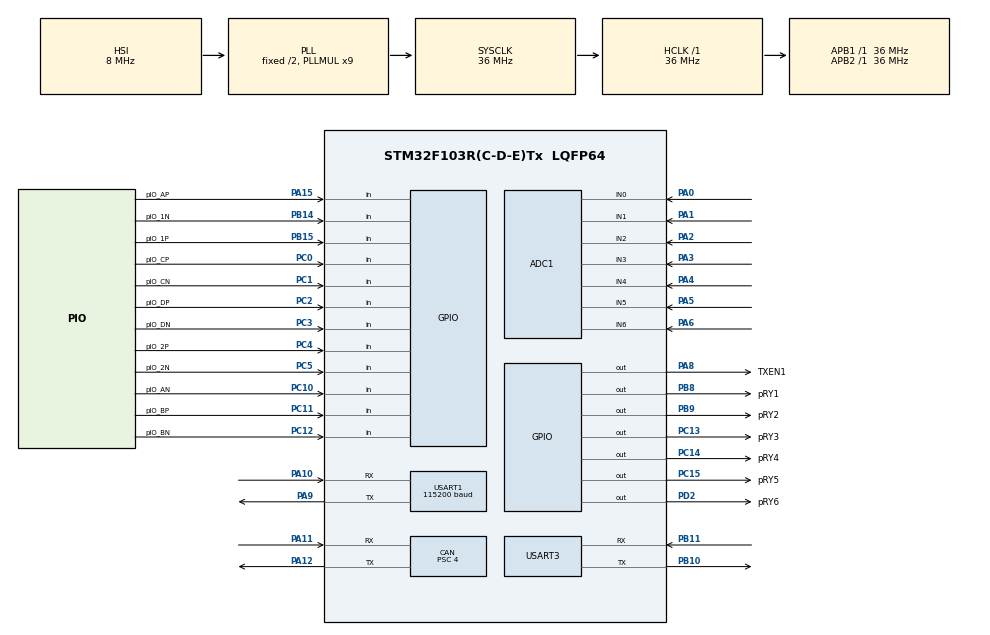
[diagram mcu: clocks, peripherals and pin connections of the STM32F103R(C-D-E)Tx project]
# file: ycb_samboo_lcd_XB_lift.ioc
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ADC1.Channel-0\#ChannelRegularConversion=ADC_CHANNEL_0
ADC1.Channel-1\#ChannelRegularConversion=ADC_CHANNEL_1
ADC1.Channel-2\#ChannelRegularConversion=ADC_CHANNEL_2
ADC1.Channel-3\#ChannelRegularConversion=ADC_CHANNEL_3
ADC1.Channel-4\#ChannelRegularConversion=ADC_CHANNEL_4
ADC1.Channel-5\#ChannelRegularConversion=ADC_CHANNEL_5
ADC1.Channel-6\#ChannelRegularConversion=ADC_CHANNEL_6
ADC1.DiscontinuousConvMode=ENABLE
ADC1.NbrOfConversion=7
ADC1.NbrOfConversionFlag=1
ADC1.Rank-0\#ChannelRegularConversion=1
ADC1.Rank-1\#ChannelRegularConversion=2
ADC1.Rank-2\#ChannelRegularConversion=3
ADC1.Rank-3\#ChannelRegularConversion=4
ADC1.Rank-4\#ChannelRegularConversion=5
ADC1.Rank-5\#ChannelRegularConversion=6
ADC1.Rank-6\#ChannelRegularConversion=7
ADC1.SamplingTime-0\#ChannelRegularConversion=ADC_SAMPLETIME_13CYCLES_5
ADC1.SamplingTime-1\#ChannelRegularConversion=ADC_SAMPLETIME_13CYCLES_5
ADC1.SamplingTime-2\#ChannelRegularConversion=ADC_SAMPLETIME_13CYCLES_5
ADC1.SamplingTime-3\#ChannelRegularConversion=ADC_SAMPLETIME_13CYCLES_5
ADC1.SamplingTime-4\#ChannelRegularConversion=ADC_SAMPLETIME_13CYCLES_5
ADC1.SamplingTime-5\#ChannelRegularConversion=ADC_SAMPLETIME_13CYCLES_5
ADC1.SamplingTime-6\#ChannelRegularConversion=ADC_SAMPLETIME_13CYCLES_5
ADC1.master=1
CAN.BS1=CAN_BS1_15TQ
CAN.BS2=CAN_BS2_2TQ
CAN.CalculateBaudRate=500000
CAN.CalculateTimeBit=2000
CAN.CalculateTimeQuantum=111.11111111111111
CAN.Prescaler=4
IWDG.Prescaler=IWDG_PRESCALER_128
IWDG.Reload=4000
Mcu.Family=STM32F1
Mcu.Name=STM32F103R(C-D-E)Tx
Mcu.Package=LQFP64
NVIC.PriorityGroup=NVIC_PRIORITYGROUP_4
NVIC.TIM3_IRQn=true\:0\:0\:false\:false\:true\:true\:true\:true
NVIC.USART1_IRQn=true\:0\:0\:false\:false\:true\:true\:true\:true
NVIC.USB_LP_CAN1_RX0_IRQn=true\:0\:0\:false\:false\:true\:true\:true\:true
PA0-WKUP.Signal=ADCx_IN0
PA1.Signal=ADCx_IN1
PA10.Mode=Asynchronous
PA10.Signal=USART1_RX
PA11.Mode=CAN_Activate
PA11.Signal=CAN_RX
PA12.Mode=CAN_Activate
PA12.Signal=CAN_TX
PA13.Mode=Serial_Wire
PA13.Signal=SYS_JTMS-SWDIO
PA14.Mode=Serial_Wire
PA14.Signal=SYS_JTCK-SWCLK
PA15.GPIO_Label=pIO_AP
PA15.GPIO_PuPd=GPIO_PULLUP
PA15.Signal=GPIO_Input
PA2.Signal=ADCx_IN2
PA3.Signal=ADCx_IN3
PA4.Signal=ADCx_IN4
PA5.Signal=ADCx_IN5
PA6.Signal=ADCx_IN6
PA8.GPIO_Label=TXEN1
PA8.GPIO_PuPd=GPIO_PULLUP
PA8.GPIO_Speed=GPIO_SPEED_FREQ_HIGH
PA8.PinState=GPIO_PIN_SET
PA8.Signal=GPIO_Output
PA9.Mode=Asynchronous
PA9.Signal=USART1_TX
PB10.Mode=Asynchronous
PB10.Signal=USART3_TX
PB11.Mode=Asynchronous
PB11.Signal=USART3_RX
PB14.GPIO_Label=pIO_1N
PB14.GPIO_PuPd=GPIO_PULLUP
PB14.Signal=GPIO_Input
PB15.GPIO_Label=pIO_1P
PB15.GPIO_PuPd=GPIO_PULLUP
PB15.Signal=GPIO_Input
PB8.GPIO_Label=pRY1
PB8.GPIO_PuPd=GPIO_PULLUP
PB8.GPIO_Speed=GPIO_SPEED_FREQ_HIGH
PB8.Signal=GPIO_Output
PB9.GPIO_Label=pRY2
PB9.GPIO_PuPd=GPIO_PULLUP
PB9.GPIO_Speed=GPIO_SPEED_FREQ_HIGH
PB9.Signal=GPIO_Output
PC0.GPIO_Label=pIO_CP
PC0.GPIO_PuPd=GPIO_PULLUP
PC0.Signal=GPIO_Input
PC1.GPIO_Label=pIO_CN
PC1.GPIO_PuPd=GPIO_PULLUP
PC1.Signal=GPIO_Input
PC10.GPIO_Label=pIO_AN
PC10.GPIO_PuPd=GPIO_PULLUP
PC10.Signal=GPIO_Input
PC11.GPIO_Label=pIO_BP
PC11.GPIO_PuPd=GPIO_PULLUP
PC11.Signal=GPIO_Input
PC12.GPIO_Label=pIO_BN
PC12.GPIO_PuPd=GPIO_PULLUP
PC12.Signal=GPIO_Input
PC13-TAMPER-RTC.GPIO_Label=pRY3
PC13-TAMPER-RTC.GPIO_PuPd=GPIO_PULLUP
PC13-TAMPER-RTC.GPIO_Speed=GPIO_SPEED_FREQ_HIGH
PC13-TAMPER-RTC.Signal=GPIO_Output
PC14-OSC32_IN.GPIO_Label=pRY4
PC14-OSC32_IN.GPIO_PuPd=GPIO_PULLUP
PC14-OSC32_IN.GPIO_Speed=GPIO_SPEED_FREQ_HIGH
PC14-OSC32_IN.Signal=GPIO_Output
PC15-OSC32_OUT.GPIO_Label=pRY5
PC15-OSC32_OUT.GPIO_PuPd=GPIO_PULLUP
PC15-OSC32_OUT.GPIO_Speed=GPIO_SPEED_FREQ_HIGH
PC15-OSC32_OUT.Signal=GPIO_Output
PC2.GPIO_Label=pIO_DP
PC2.GPIO_PuPd=GPIO_PULLUP
PC2.Signal=GPIO_Input
PC3.GPIO_Label=pIO_DN
PC3.GPIO_PuPd=GPIO_PULLUP
PC3.Signal=GPIO_Input
PC4.GPIO_Label=pIO_2P
PC4.GPIO_PuPd=GPIO_PULLUP
PC4.Signal=GPIO_Input
PC5.GPIO_Label=pIO_2N
PC5.GPIO_PuPd=GPIO_PULLUP
PC5.Signal=GPIO_Input
PD2.GPIO_Label=pRY6
PD2.GPIO_ModeDefaultOutputPP=GPIO_MODE_OUTPUT_PP
PD2.GPIO_PuPd=GPIO_PULLUP
PD2.GPIO_Speed=GPIO_SPEED_FREQ_HIGH
PD2.PinState=GPIO_PIN_RESET
PD2.Signal=GPIO_Output
ProjectManager.HeapSize=0x200
ProjectManager.StackSize=0x400
ProjectManager.TargetToolchain=STM32CubeIDE
RCC.ADCPresc=RCC_ADCPCLK2_DIV4
RCC.AHBFreq_Value=36000000
RCC.APB1Freq_Value=36000000
RCC.APB1TimFreq_Value=36000000
RCC.APB2Freq_Value=36000000
RCC.APB2TimFreq_Value=36000000
RCC.HCLKFreq_Value=36000000
RCC.PLLMUL=RCC_PLL_MUL9
RCC.SYSCLKFreq_VALUE=36000000
RCC.SYSCLKSource=RCC_SYSCLKSOURCE_PLLCLK
RCC.USBFreq_Value=36000000
SH.ADCx_IN0.0=ADC1_IN0,IN0
SH.ADCx_IN1.0=ADC1_IN1,IN1
SH.ADCx_IN2.0=ADC1_IN2,IN2
SH.ADCx_IN3.0=ADC1_IN3,IN3
SH.ADCx_IN4.0=ADC1_IN4,IN4
SH.ADCx_IN5.0=ADC1_IN5,IN5
SH.ADCx_IN6.0=ADC1_IN6,IN6
TIM1.CounterMode=TIM_COUNTERMODE_UP
TIM1.Period=100-1
TIM1.Prescaler=36000
TIM3.Period=100-1
TIM3.Prescaler=36000
USART1.BaudRate=115200
USART1.VirtualMode=VM_ASYNC
USART3.VirtualMode=VM_ASYNC
VP_IWDG_VS_IWDG.Mode=IWDG_Activate
VP_TIM1_VS_ClockSourceINT.Mode=Internal
VP_TIM3_VS_ClockSourceITR.Mode=TriggerSource_ITR0
board=custom

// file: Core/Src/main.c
/* USER CODE BEGIN Header */
/**
 ******************************************************************************
 * @file           : main.c
 * @brief          : Main program body
 ******************************************************************************
 * @attention
 *
 * <h2><center>&copy; Copyright (c) 2022 STMicroelectronics.
 * All rights reserved.</center></h2>
 *
 * This software component is licensed by ST under BSD 3-Clause license,
 * the "License"; You may not use this file except in compliance with the
 * License. You may obtain a copy of the License at:
 *                        opensource.org/licenses/BSD-3-Clause
 *
 ******************************************************************************
 */
/* USER CODE END Header */
#include "main.h"
#include "adc.h"
#include "can.h"
#include "iwdg.h"
#include "tim.h"
#include "usart.h"
#include "gpio.h"

/* USER CODE BEGIN Includes */
#include "extern.h"
//#include <exception>
//#include "../../class/TEST_CLASS.h"
/* USER CODE END Includes */

/* USER CODE BEGIN PTD */
uint8_t one_millisec_flag=0;
uint8_t ten_millisec_flag=0;
uint8_t hnd_millisec_flag=0;
uint8_t draw_UI_flag=0;
uint8_t one_sec_flag=0;
int stand_by=1000;
static int t3_tick=0;

extern uint8_t uart1_rx_rs485[256];

/* USER CODE END PTD */

/* USER CODE BEGIN PD */
#define xIMG_DOWN_FROM_PC //ICON
//#define __HAL_AFIO_REMAP_PD01_ENABLE()  AFIO_REMAP_ENABLE(AFIO_MAPR_PD01_REMAP)
//#define __HAL_AFIO_REMAP_PD01_DISABLE() AFIO_REMAP_DISABLE(AFIO_MAPR_PD01_REMAP)
/* USER CODE END PD */

/* USER CODE BEGIN PM */
#ifdef __cplusplus
extern "C" int _write(int32_t file, uint8_t *ptr, int32_t len)
{
#else
int _write(int32_t file, uint8_t *ptr, int32_t len) {
#endif
	if (HAL_UART_Transmit(&huart3, ptr, len, len) == HAL_OK)	return len;
	else return 0;
}

void MyErrorHandler()

{
    printf("MyErrorHandler 발생\r\n");
    exit(-1);
}
/* USER CODE END PM */

/* USER CODE BEGIN PV */

#define BUFFER_SIZE 64
uint8_t rx_buffer[BUFFER_SIZE];
uint8_t rx_cnt=0;
uint8_t rx_flag=0;
uint8_t rx_ok=0;

uint8_t OneSecond_RTC_IRQ = 0;
int key_action_delay = 0;
uint16_t gBG_COLOR=MAIN_BG_COLOR;
uint8_t TOGGLE = 0;

//extern uint16_t t1_ADC_key_tick;

extern uint8_t uart1_rx_rs485[256];
extern uint8_t uart2_rx_modem[512];
extern uint16_t uart1_rx_cnt;//=0;//485
extern uint16_t uart2_rx_cnt;//=0;//modem
extern uint16_t uart_recv_try_cnt;

//void Main_IRQ_KEY_Process();

extern void Get_AdcData();
/* USER CODE END PV */

void SystemClock_Config(void);

/* USER CODE BEGIN 0 */

void delay_ms(uint16_t time)
{
	uint16_t i=0;
   while(time--)
   {
      i=12000;  // Define your own
      while(i--) ;
   }
}
/* USER CODE END 0 */

int main(void)
{

  /* USER CODE BEGIN 1 */
	//__HAL_AFIO_REMAP_PD01_DISABLE();
  /* USER CODE END 1 */

  /* MCU Configuration--------------------------------------------------------*/

  /* Reset of all peripherals, Initializes the Flash interface and the Systick. */
  HAL_Init();

  /* Configure the system clock */
  SystemClock_Config();

  /* Initialize all configured peripherals */
  MX_GPIO_Init();
  MX_USART1_UART_Init();
  MX_ADC1_Init();
  MX_IWDG_Init();
  MX_TIM1_Init();
  MX_TIM3_Init();
  MX_USART3_UART_Init();
  MX_CAN_Init();
  /* USER CODE BEGIN 2 */

	pSTM32_IO = new STM32_IO();
	//pFlashClass = new SPI1_FLASH();
	pIli9488 = new ILI9488_DRV();
	pLCD_MAIN = new LCD_MAIN();
	pDataClass = new data_class();
	pCAN = new tja1050();
	//	pRS485 = new RS485();
	pZIGBEE =new zigbee();
	HAL_TIM_Base_Start_IT(&htim3);
	HAL_ADCEx_Calibration_Start(&hadc1);
	pIli9488->ILI9488_DRV_Init();
	pCAN->init();
	HAL_Delay(100);
	__HAL_IWDG_START(&hiwdg);//40KHZ LCLK 128분주-3125(312.5*10)
	__HAL_UART_ENABLE_IT(&huart1,UART_IT_RXNE);

	printf("==========================\r\n");	//328byte
	printf("START VCU Board [ReV %.1f]\r\n\r\n",REV_NUM);
	pDataClass->SYSTEM_POWER(ON);

//pDataClass->get_cpuid();
//	pLCD_MAIN->Ozone_calcuration();
  /* USER CODE END 2 */

  /* Infinite loop */
  /* USER CODE BEGIN WHILE */
	while (1)
	{
		//printf("========================\r\n");	//328byte
		__HAL_IWDG_RELOAD_COUNTER(&hiwdg);

		if(pLCD_MAIN->uiEvent.event_flag){
			pLCD_MAIN->Draw_Key_Event();
		}
		if(ten_millisec_flag){
		  ten_millisec_flag=0;
		  pDataClass->ten_millisec_routine();
		}
		if(one_sec_flag){
			//printf("one_sec_flag====================\r\n");
			pDataClass->onesec_routine();
		  one_sec_flag=0;
		}
		if(hnd_millisec_flag){
		  pSTM32_IO->Main_IRQ_KEY_Process();
		  pDataClass->hnd_millisec_routine();
		  hnd_millisec_flag=0;
		}
		if(draw_UI_flag){
			draw_UI_flag=0;
			if(pSTM32_IO->navi_state.system_setup==0) pLCD_MAIN->update_DrawMainMenu(0);
		}
		HAL_Delay(1);
    /* USER CODE END WHILE */

	}
}

void SystemClock_Config(void)
{
  RCC_OscInitTypeDef RCC_OscInitStruct = {0};
  RCC_ClkInitTypeDef RCC_ClkInitStruct = {0};
  RCC_PeriphCLKInitTypeDef PeriphClkInit = {0};

  /** Initializes the RCC Oscillators according to the specified parameters
  * in the RCC_OscInitTypeDef structure.
  */
  RCC_OscInitStruct.OscillatorType = RCC_OSCILLATORTYPE_HSI|RCC_OSCILLATORTYPE_LSI;
  RCC_OscInitStruct.HSIState = RCC_HSI_ON;
  RCC_OscInitStruct.HSICalibrationValue = RCC_HSICALIBRATION_DEFAULT;
  RCC_OscInitStruct.LSIState = RCC_LSI_ON;
  RCC_OscInitStruct.PLL.PLLState = RCC_PLL_ON;
  RCC_OscInitStruct.PLL.PLLSource = RCC_PLLSOURCE_HSI_DIV2;
  RCC_OscInitStruct.PLL.PLLMUL = RCC_PLL_MUL9;
  if (HAL_RCC_OscConfig(&RCC_OscInitStruct) != HAL_OK)
  {
    Error_Handler();
  }

  /** Initializes the CPU, AHB and APB buses clocks
  */
  RCC_ClkInitStruct.ClockType = RCC_CLOCKTYPE_HCLK|RCC_CLOCKTYPE_SYSCLK
                              |RCC_CLOCKTYPE_PCLK1|RCC_CLOCKTYPE_PCLK2;
  RCC_ClkInitStruct.SYSCLKSource = RCC_SYSCLKSOURCE_PLLCLK;
  RCC_ClkInitStruct.AHBCLKDivider = RCC_SYSCLK_DIV1;
  RCC_ClkInitStruct.APB1CLKDivider = RCC_HCLK_DIV1;
  RCC_ClkInitStruct.APB2CLKDivider = RCC_HCLK_DIV1;

  if (HAL_RCC_ClockConfig(&RCC_ClkInitStruct, FLASH_LATENCY_1) != HAL_OK)
  {
    Error_Handler();
  }
  PeriphClkInit.PeriphClockSelection = RCC_PERIPHCLK_ADC;
  PeriphClkInit.AdcClockSelection = RCC_ADCPCLK2_DIV4;
  if (HAL_RCCEx_PeriphCLKConfig(&PeriphClkInit) != HAL_OK)
  {
    Error_Handler();
  }
}

/* USER CODE BEGIN 4 */
static unsigned short tick=0;
void HAL_SYSTICK_Callback(void)
{
	one_millisec_flag=1;
	HAL_IncTick();
	tick++;
	if(tick>=10){
		tick=0;
		ten_millisec_flag=1;
	}
}
void HAL_TIM_PeriodElapsedCallback(TIM_HandleTypeDef *htim)
{
	if(htim->Instance==TIM3){//TIM2 100ms
		hnd_millisec_flag=1;
		//if(key_action_delay>0) key_action_delay--;
		if(t3_tick++>10){
			t3_tick=0;
				one_sec_flag=1;
		}
		//printf("sys_count[%d]\r\n", sys_count);
	}
}
void HAL_UART_RxCpltCallback(UART_HandleTypeDef *huart)
{
	//printf("HAL_UART_RxCpltCallback~\r\n");
	if (huart->Instance == USART1) {
		uint8_t uart_data;
		uint32_t tmp_flag = 0, tmp_it_source = 0;
		tmp_flag =  __HAL_UART_GET_FLAG(&huart1,UART_FLAG_RXNE);
		tmp_it_source = __HAL_UART_GET_IT_SOURCE(&huart1, UART_IT_RXNE);

		if ((tmp_it_source != RESET) && (tmp_flag != RESET)){

			uart_data=huart1.Instance->DR;
			{
				//printf("[%02X]\r\n",uart_data);
				//HAL_UART_Transmit(&huart3, &uart_data, 1, 1);
				if(uart_data==0xAF && rx_flag==0){
					rx_cnt=0;
					memset(&rx_buffer, 0, sizeof(rx_buffer));
					rx_flag=1;
				}
				if(rx_flag)rx_buffer[rx_cnt++]=uart_data;
				if(rx_cnt>16){
					rx_flag=0;
					rx_cnt=16;
					pZIGBEE->zigbee_received(rx_buffer);
				}
			}

		}
		__HAL_UART_CLEAR_PEFLAG(&huart1);

	}
	__HAL_UART_ENABLE_IT(&huart1,UART_IT_RXNE);
}
//HAL_GPIO_WritePin
//static unsigned short timer_count=0;
//
//void HAL_TIM_PeriodElapsedCallback(TIM_HandleTypeDef *htim){
//    timer_count += 1;
//    if(timer_count >= 100){
//        //printf("timer interrupt![%d]\r\n",sys_count);
//       // pDataClass->ten_millisec_routine();
//        timer_count = 0;
//    }
//}
/* USER CODE END 4 */

void Error_Handler(void)
{
  /* USER CODE BEGIN Error_Handler_Debug */
	/* User can add his own implementation to report the HAL error return state */
	__disable_irq();
	NVIC_SystemReset();//for rebooting
	while (1)
	{
	}
  /* USER CODE END Error_Handler_Debug */
}
